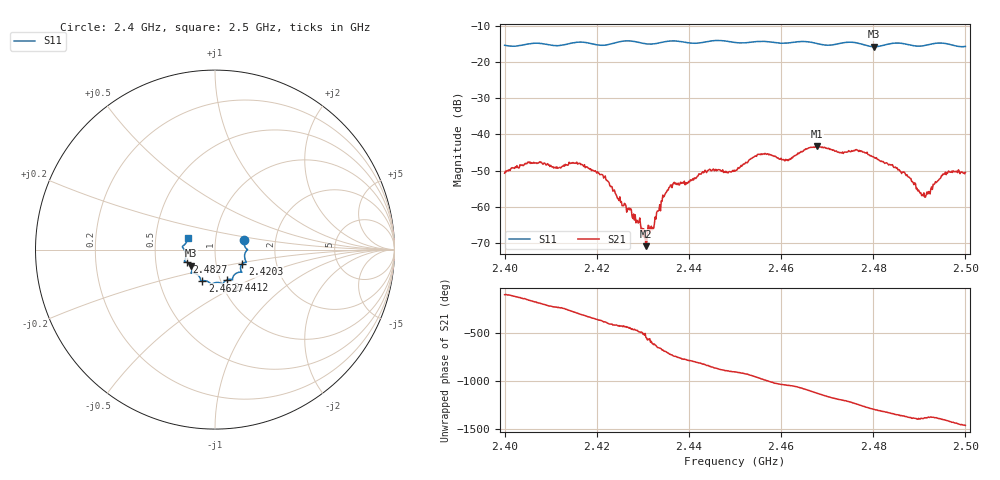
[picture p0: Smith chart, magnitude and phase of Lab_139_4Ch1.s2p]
# Hz S RI R 50
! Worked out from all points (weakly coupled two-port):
!   601 points, 2.4 GHz to 2.5 GHz, reference 50 ohm
!   highest |S21| = -43.23 dB at 2.4678 GHz (marker M1); lowest = -70.9 dB at 2.4307 GHz (marker M2)
!   lowest |S11| = -15.8 dB at 2.4802 GHz (marker M3), VSWR 1.39, Z = 37.5 - j6.91 ohm
!   |S11| at or under -10 dB: start of sweep to end of sweep
!   S12 and S22 are empty: the file has one direction only
!   S11 on the Smith chart (normalised r, x): 2.4 GHz: 1.38, +0.15; 2.4203 GHz: 1.34, -0.22; 2.4412 GHz: 1.08, -0.37; 2.4627 GHz: 0.82, -0.29; 2.4827 GHz: 0.72, -0.10; 2.5 GHz: 0.73, +0.10
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2.4e9  0.1614 0.0535  -0.000182 -0.00291  0 0  0 0
2.405e9  0.1766 0.00346  -0.0034 -0.00236  0 0  0 0
2.416667e9  0.1746 -0.0696  0.00206 0.00328  0 0  0 0
2.420333e9  0.1521 -0.0789  0.00292 0.000142  0 0  0 0
2.430667e9  0.121 -0.1309  -0.000286 9.09e-06  0 0  0 0
2.432e9  0.1076 -0.1406  -0.000205 0.000435  0 0  0 0
2.433333e9  0.0997 -0.1523  0.000279 0.000829  0 0  0 0
2.436333e9  0.0984 -0.1687  0.00183 -0.000188  0 0  0 0
2.441167e9  0.0687 -0.1677  0.000612 -0.00242  0 0  0 0
2.444833e9  0.0444 -0.1899  -0.00211 -0.00231  0 0  0 0
2.45e9  0.0247 -0.1841  -0.0031 0.000197  0 0  0 0
2.455333e9  -0.0174 -0.1917  -0.00194 0.00495  0 0  0 0
2.462667e9  -0.0706 -0.1732  0.00442 0.00224  0 0  0 0
2.466667e9  -0.0805 -0.1681  0.00577 -0.00321  0 0  0 0
2.467833e9  -0.0827 -0.1591  0.00465 -0.0051  0 0  0 0
2.480167e9  -0.1352 -0.0896  -0.00384 0.00296  0 0  0 0
2.482667e9  -0.1577 -0.0704  -0.00164 0.00368  0 0  0 0
2.483333e9  -0.1631 -0.0683  -0.00117 0.0036  0 0  0 0
2.487167e9  -0.1669 -0.056  0.00103 0.00249  0 0  0 0
2.491e9  -0.1678 -0.00831  0.000978 0.00121  0 0  0 0
2.495333e9  -0.1802 0.0189  0.00231 0.0016  0 0  0 0
2.5e9  -0.1505 0.0641  0.00268 -0.00131  0 0  0 0
